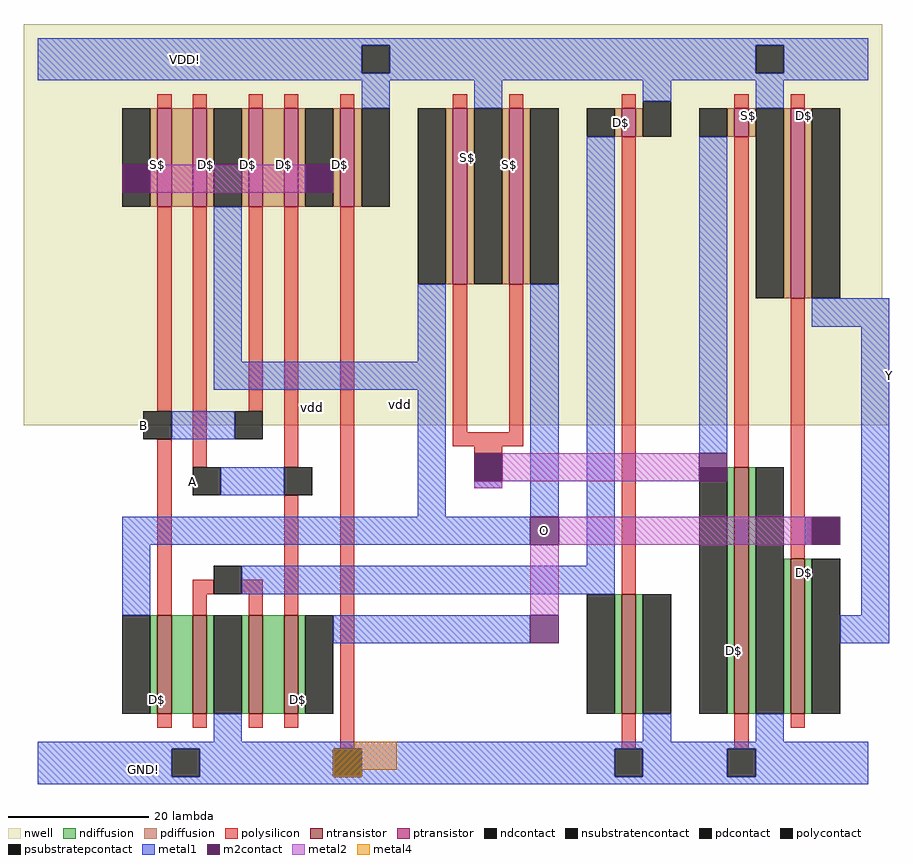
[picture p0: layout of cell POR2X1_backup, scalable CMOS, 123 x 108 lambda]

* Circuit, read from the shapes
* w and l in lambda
.subckt POR2X1_backup VDD! GND! B A Y
M1 n1 B O GND! nfet w=14 l=2
M2 GND! n2 n1 GND! nfet w=14 l=2
M3 n3 n2 GND! GND! nfet w=14 l=2
M4 O A n3 GND! nfet w=14 l=2
M5 GND! GND! n2 GND! nfet w=17 l=2
M6 GND! GND! n4 GND! nfet w=35 l=2
M7 Y O GND! GND! nfet w=22 l=2
M8 n5 B VVDD VDD! pfet w=14 l=2
M9 O A n5 VDD! pfet w=14 l=2
M10 n6 B O VDD! pfet w=14 l=2
M11 VVDD A n6 VDD! pfet w=14 l=2
M12 VDD! GND! VVDD VDD! pfet w=14 l=2
M13 VDD! n4 O VDD! pfet w=25 l=2 m=2
M14 VDD! GND! n2 VDD! pfet w=4 l=2
M15 VDD! GND! n4 VDD! pfet w=4 l=2
M16 Y O VDD! VDD! pfet w=27 l=2
.ends

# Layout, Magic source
magic
tech scmos
<< nwell >>
rect 12 66 134 105
rect 12 48 135 66
<< ntransistor >>
rect 31 7 33 21
rect 36 7 38 21
rect 44 7 46 21
rect 49 7 51 21
rect 97 7 99 24
rect 113 7 115 42
rect 121 7 123 29
<< ptransistor >>
rect 31 79 33 93
rect 36 79 38 93
rect 44 79 46 93
rect 49 79 51 93
rect 57 79 59 93
rect 73 68 75 93
rect 81 68 83 93
rect 97 89 99 93
rect 113 89 115 93
rect 121 66 123 93
<< ndiffusion >>
rect 30 7 31 21
rect 33 7 36 21
rect 38 7 39 21
rect 43 7 44 21
rect 46 7 49 21
rect 51 7 52 21
rect 96 7 97 24
rect 99 7 100 24
rect 112 7 113 42
rect 115 7 116 42
rect 120 7 121 29
rect 123 7 124 29
<< pdiffusion >>
rect 30 79 31 93
rect 33 79 36 93
rect 38 79 39 93
rect 43 79 44 93
rect 46 79 49 93
rect 51 79 52 93
rect 56 79 57 93
rect 59 79 60 93
rect 72 68 73 93
rect 75 68 76 93
rect 80 68 81 93
rect 83 68 84 93
rect 96 89 97 93
rect 99 89 100 93
rect 112 89 113 93
rect 115 89 116 93
rect 120 66 121 93
rect 123 66 124 93
<< ndcontact >>
rect 26 7 30 21
rect 39 7 43 21
rect 52 7 56 21
rect 92 7 96 24
rect 100 7 104 24
rect 108 7 112 42
rect 116 7 120 42
rect 124 7 128 29
<< pdcontact >>
rect 26 79 30 93
rect 39 79 43 93
rect 52 79 56 93
rect 60 79 64 93
rect 68 68 72 93
rect 76 68 80 93
rect 84 68 88 93
rect 92 89 96 93
rect 100 89 104 94
rect 108 89 112 93
rect 116 66 120 93
rect 124 66 128 93
<< psubstratepcontact >>
rect 33 -2 37 2
<< nsubstratencontact >>
rect 60 98 64 102
rect 116 98 120 102
<< polysilicon >>
rect 31 93 33 95
rect 36 93 38 95
rect 44 93 46 95
rect 49 93 51 95
rect 57 93 59 95
rect 73 93 75 95
rect 81 93 83 95
rect 97 93 99 95
rect 31 50 33 79
rect 31 21 33 46
rect 36 42 38 79
rect 44 50 46 79
rect 49 42 51 79
rect 36 24 39 26
rect 43 24 46 26
rect 36 21 38 24
rect 44 21 46 24
rect 49 21 51 38
rect 31 5 33 7
rect 36 5 38 7
rect 44 5 46 7
rect 49 5 51 7
rect 57 2 59 79
rect 113 93 115 95
rect 121 93 123 95
rect 73 47 75 68
rect 81 47 83 68
rect 73 45 83 47
rect 76 44 80 45
rect 97 24 99 89
rect 113 42 115 89
rect 121 35 123 66
rect 121 31 124 35
rect 121 29 123 31
rect 97 2 99 7
rect 113 2 115 7
rect 121 5 123 7
<< polycontact >>
rect 29 46 33 50
rect 42 46 46 50
rect 36 38 40 42
rect 49 38 53 42
rect 39 24 43 28
rect 76 40 80 44
rect 124 31 128 35
rect 56 -2 60 2
rect 96 -2 100 2
rect 112 -2 116 2
<< metal1 >>
rect 14 102 132 103
rect 14 98 60 102
rect 64 98 116 102
rect 120 98 132 102
rect 14 97 132 98
rect 60 93 64 97
rect 76 93 80 97
rect 100 94 104 97
rect 39 57 43 79
rect 68 57 72 68
rect 39 53 72 57
rect 33 46 42 50
rect 40 38 49 42
rect 68 35 72 53
rect 76 39 80 40
rect 84 35 88 68
rect 26 31 84 35
rect 116 93 120 97
rect 26 21 30 31
rect 92 28 96 89
rect 43 24 96 28
rect 108 44 112 89
rect 124 62 135 66
rect 56 17 84 21
rect 123 31 124 35
rect 131 21 135 62
rect 128 17 135 21
rect 39 3 43 7
rect 100 3 104 7
rect 116 3 120 7
rect 14 2 132 3
rect 14 -2 33 2
rect 37 -2 56 2
rect 60 -2 96 2
rect 100 -2 112 2
rect 116 -2 132 2
rect 14 -3 132 -2
<< m2contact >>
rect 26 81 30 85
rect 52 81 56 85
rect 76 40 80 44
rect 84 31 88 35
rect 108 42 112 44
rect 108 40 112 42
rect 84 17 88 21
rect 124 31 128 35
<< metal2 >>
rect 30 81 52 85
rect 80 40 108 44
rect 76 39 80 40
rect 88 31 124 35
rect 84 21 88 31
<< metal4 >>
rect 59 2 65 3
rect 56 -1 65 2
rect 56 -2 60 -1
<< labels >>
rlabel space 1 -3 105 104 1 vdd
rlabel space 1 -3 105 104 1 gnd
rlabel metal1 35 100 35 100 1 VDD!
port 1 n power bidirectional
rlabel ptransistor 31 85 31 85 1 S$
rlabel ptransistor 33 85 33 85 1 D$
rlabel ptransistor 49 85 49 85 1 D$
rlabel ptransistor 51 85 51 85 1 S$
rlabel ptransistor 44 85 44 85 1 D$
rlabel ptransistor 38 85 38 85 1 D$
rlabel ptransistor 36 85 36 85 1 S$
rlabel ptransistor 46 85 46 85 1 S$
rlabel ptransistor 57 85 57 85 1 D$
rlabel ptransistor 59 85 59 85 1 S$
rlabel metal1 29 -1 29 -1 1 GND!
port 2 n power bidirectional
rlabel polycontact 29 46 29 50 1 B
port 3 n signal input
rlabel space -4 -3 110 105 1 vdd
rlabel space -4 -3 110 105 1 gnd
rlabel polycontact 36 38 36 42 1 A
port 4 n signal input
rlabel ptransistor 75 86 75 86 1 S$
rlabel ptransistor 73 85 73 85 1 D$
rlabel ntransistor 51 9 51 9 1 D$
rlabel ntransistor 49 9 49 9 1 S$
rlabel ntransistor 31 9 31 9 1 D$
rlabel ntransistor 33 9 33 9 1 S$
rlabel pdcontact 54 86 54 86 1 VVDD
rlabel ntransistor 113 16 113 16 1 D$
rlabel ntransistor 115 16 115 16 1 S$
rlabel ptransistor 115 92 115 92 1 S$
rlabel ptransistor 113 92 113 92 1 D$
rlabel ptransistor 123 92 123 92 1 D$
rlabel ptransistor 121 92 121 92 1 S$
rlabel m2contact 86 33 86 33 1 O
rlabel metal1 135 53 135 57 1 Y
port 5 n signal output
rlabel ptransistor 81 85 81 85 1 S$
rlabel ptransistor 83 85 83 85 1 D$
rlabel ptransistor 97 91 97 91 1 D$
rlabel ptransistor 99 91 99 91 1 S$
rlabel ntransistor 123 27 123 27 1 D$
rlabel ntransistor 121 27 121 27 1 S$
rlabel space -4 -3 135 105 1 vdd
rlabel space -4 -3 135 105 1 gnd
<< end >>
